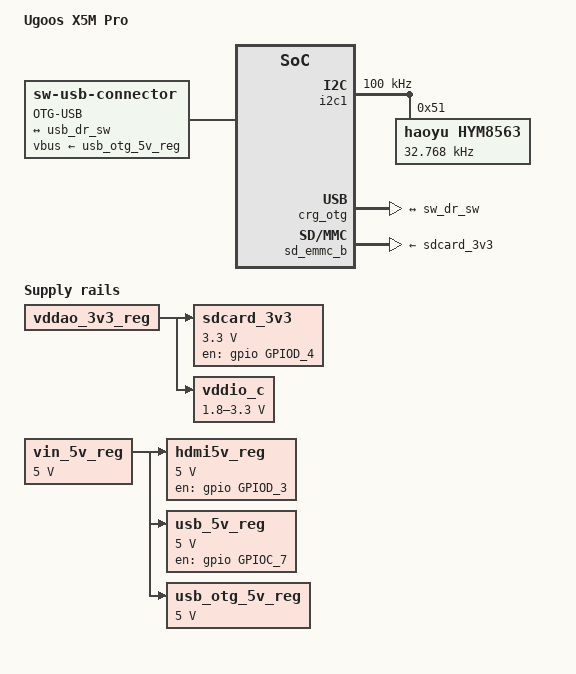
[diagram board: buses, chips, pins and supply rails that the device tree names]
#include "s7d_s905x5m_4g_1gbit.dts"

/{
	model = "Ugoos X5M Pro";
	coreelec-dt-id = "s7d_s905x5m_ugoos_x5m_pro";

	memory@00000000 {
		linux,usable-memory = <0x0 0x000000 0x0 0xf0000000>;
	};

	gpioleds {
		/delete-node/ sys_led;

		/* red led */
		net_red {
			label = "net_red";
			gpios = <&gpio GPIODV_6 GPIO_ACTIVE_LOW>;
			linux,default-trigger = "default-on";
			retain-state-suspended;
		};

		/* green led */
		net_green {
			label = "net_green";
			gpios = <&gpio GPIODV_3 GPIO_ACTIVE_HIGH>;
			linux,default-trigger = "default-on";
		};

		/* blue led */
		net_blue {
			label = "net_blue";
			gpios = <&gpio GPIODV_4 GPIO_ACTIVE_LOW>;
			linux,default-trigger = "default-on";
			retain-state-shutdown;
		};
	};

	auge_sound {
		/delete-property/ avout_mute-gpios;

		aml-audio-card,dai-link@2 {
			codec {
				/delete-property/ prefix-names;
				sound-dai = <&amlogic_codec>;
			};
		};
	};

	/delete-node/ fixed@vin_12v_reg;
	/delete-node/ fixed@vddao_5v_reg;
	/delete-node/ fixed@vcc5v_reg;
	vin_5v_reg: fixed@vin_5v_reg {
		compatible = "regulator-fixed";
		regulator-name = "5V";
		regulator-min-microvolt = <5000000>;
		regulator-max-microvolt = <5000000>;
		regulator-boot-on;
		regulator-always-on;
	};

	hdmi5v_reg: fixed@hdmi5v_reg {
		vin-supply = <&vin_5v_reg>;
		compatible = "regulator-fixed";
		regulator-name = "HDMI5V";
		regulator-min-microvolt = <5000000>;
		regulator-max-microvolt = <5000000>;
		pinctrl-names = "default";
		gpio = <&gpio GPIOD_3 (GPIO_ACTIVE_HIGH)>;
		startup-delay-us = <7000>;
		enable-active-high;
		regulator-boot-on;
		regulator-always-on;
	};

	fixed@vddq_reg {
		vin-supply = <&vin_5v_reg>;
	};

	fixed@vddao_3v3p_reg {
		vin-supply = <&vin_5v_reg>;
	};

	fixed@vdd1v8_dcdc_reg {
		vin-supply = <&vin_5v_reg>;
	};

	sdcard_3v3: sdcard-3v3 {
		compatible = "regulator-fixed";
		regulator-name = "SD_3V3";
		vin-supply = <&vddao_3v3_reg>;
		regulator-min-microvolt = <3300000>;
		regulator-max-microvolt = <3300000>;
		gpio = <&gpio GPIOD_4 GPIO_ACTIVE_HIGH>;
		startup-delay-us = <70000>;
		enable-active-high;
		regulator-boot-on;
		regulator-always-on;
	};

	vddio_c: sdcard-1v8_3v3 {
		compatible = "regulator-gpio";
		regulator-name = "VDDIO_C";
		vin-supply = <&vddao_3v3_reg>;
		regulator-min-microvolt = <1800000>;
		regulator-max-microvolt = <3300000>;
		// GPIOH_8(DOWN) L: 1.8V, H: 3.3V
		gpio = <&gpio GPIOH_8 GPIO_ACTIVE_HIGH>;
		startup-delay-us = <70000>;
		gpios-states = <1>;
		states = <1800000 0
			  3300000 1>;
	};

	usb_5v_reg: fixedregulator@usb_5v {
		vin-supply = <&vin_5v_reg>;
		compatible = "regulator-fixed";
		regulator-name = "USB_5V";
		regulator-min-microvolt = <5000000>;
		regulator-max-microvolt = <5000000>;
		pinctrl-names = "default";
		gpio = <&gpio GPIOC_7 (GPIO_ACTIVE_HIGH | GPIO_OPEN_DRAIN)>;
		startup-delay-us = <70000>;
		enable-active-high;
		regulator-boot-on;
		regulator-always-on;
	};

	// dummy
	usb_otg_5v_reg: fixedregulator@usb_otg_5v {
		vin-supply = <&vin_5v_reg>;
		compatible = "regulator-fixed";
		regulator-name = "USB_OTG_5V";
		regulator-min-microvolt = <5000000>;
		regulator-max-microvolt = <5000000>;
		regulator-boot-on;
		regulator-always-on;
	};

	usb_otg_connector {
		compatible = "sw-usb-connector", "usb-a-connector";
		label = "OTG-USB";
		vbus-supply = <&usb_otg_5v_reg>;
		port {
			sw_dr_sw: endpoint {
				remote-endpoint = <&usb_dr_sw>;
			};
		};
	};
};

&vrtc {
	status = "disabled";
};

&i2c1 {
	status = "okay";
	pinctrl-names="default";
	pinctrl-0=<&i2c1_pins2>;
	clock-frequency = <100000>;

	hym8563: hym8563@51 {
		compatible = "haoyu,hym8563";
		reg = <0x51>;
		#clock-cells = <0>;
		clock-frequency = <32768>;
		clock-output-names = "xin32k";
	};
};

&crg_otg {
	port {
		usb_dr_sw: endpoint {
			remote-endpoint = <&sw_dr_sw>;
		};
	};
};

&usb_phy21 {
	/delete-property/ gpio-vbus-power;
	/delete-property/ gpios;
};

&crg {
	vbus-supply = <&usb_5v_reg>;
};

&sd_emmc_b {
	sd-uhs-sdr12;
	sd-uhs-sdr25;
	sd-uhs-sdr50;
	sd-uhs-sdr104;
	vmmc-supply = <&sdcard_3v3>;
	vqmmc-supply = <&vddio_c>;
};
